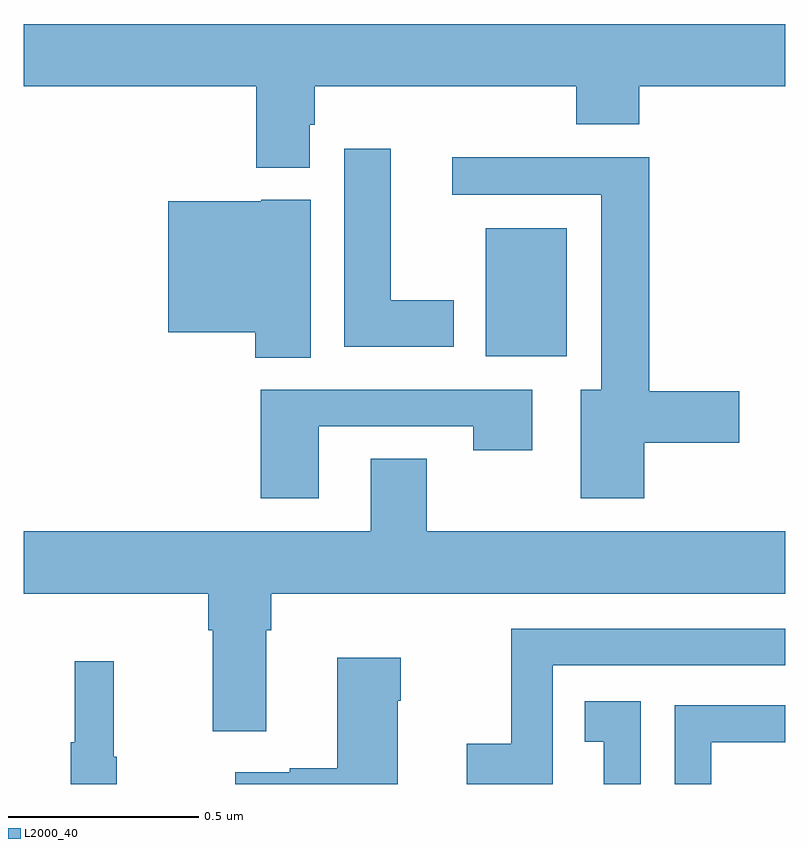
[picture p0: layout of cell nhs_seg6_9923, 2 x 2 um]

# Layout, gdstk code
import gdstk
lib = gdstk.Library(unit=1e-6, precision=1e-09)
def R(c, l, rs):  # rectangles x0, y0, x1, y1
    for r in rs: c.add(gdstk.rectangle(r[:2], r[2:], *l))
def P(c, l, *ps):  # polygons
    for p in ps: c.add(gdstk.Polygon(p, *l))
L2000_40 = (2000, 40)

nhs_seg6_9923 = lib.new_cell('nhs_seg6_9923')
R(nhs_seg6_9923, L2000_40, [(241.214,950.624,241.426,950.959)])
P(nhs_seg6_9923, L2000_40, [(240,951.332),(240.611,951.332),(240.611,951.119),(240.751,951.119),(240.751,951.231),(240.764,951.231),(240.764,951.332),(241.451,951.332),(241.451,951.233),(241.616,951.233),(241.616,951.332),(242,951.332),(242,951.496),(240,951.496)],
  [(241.129,950.77),(240.964,950.77),(240.964,951.169),(240.842,951.169),(240.842,950.648),(241.129,950.648)],
  [(241.63,950.396),(241.879,950.396),(241.879,950.531),(241.643,950.531),(241.643,951.146),(241.125,951.146),(241.125,951.048),(241.517,951.048),(241.517,950.536),(241.463,950.536),(241.463,950.25),(241.63,950.25)],
  [(240.754,951.034),(240.624,951.034),(240.624,951.031),(240.38,951.031),(240.38,950.687),(240.608,950.687),(240.608,950.62),(240.754,950.62)],
  [(240.775,950.439),(241.18,950.439),(241.18,950.376),(241.336,950.376),(241.336,950.535),(240.623,950.535),(240.623,950.25),(240.775,950.25)],
  [(240.637,949.904),(240.65,949.904),(240.65,950),(242,950),(242,950.164),(241.059,950.164),(241.059,950.354),(240.911,950.354),(240.911,950.164),(240,950.164),(240,950),(240.485,950),(240.485,949.904),(240.497,949.904),(240.497,949.638),(240.637,949.638)],
  [(241.389,949.812),(242,949.812),(242,949.908),(241.281,949.908),(241.281,949.606),(241.163,949.606),(241.163,949.5),(241.389,949.5)],
  [(240.982,949.718),(240.99,949.718),(240.99,949.831),(240.824,949.831),(240.824,949.541),(240.698,949.541),(240.698,949.531),(240.555,949.531),(240.555,949.5),(240.982,949.5)],
  [(240.244,949.572),(240.236,949.572),(240.236,949.822),(240.134,949.822),(240.134,949.609),(240.123,949.609),(240.123,949.5),(240.244,949.5)],
  [(241.62,949.717),(241.474,949.717),(241.474,949.611),(241.523,949.611),(241.523,949.5),(241.62,949.5)],
  [(241.806,949.61),(242,949.61),(242,949.707),(241.71,949.707),(241.71,949.5),(241.806,949.5)])

lib.write_gds('nhs_seg6_9923.gds')
